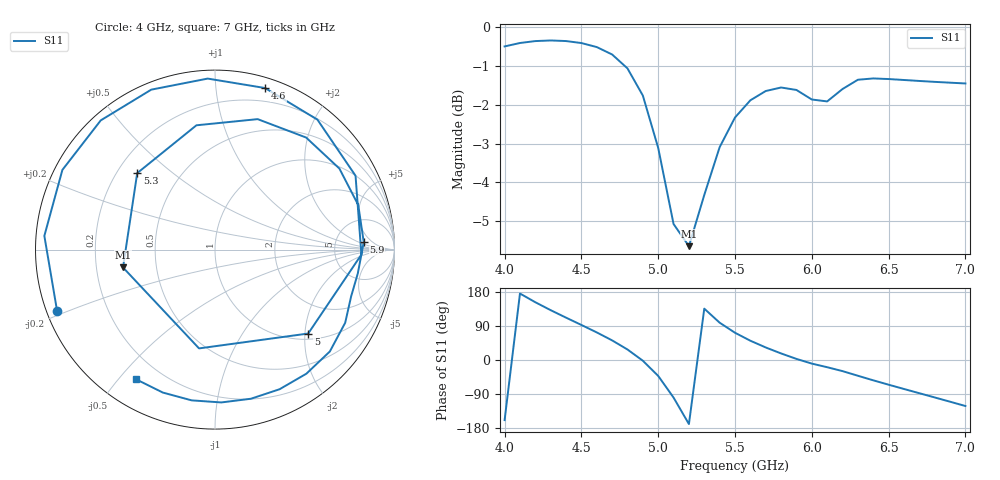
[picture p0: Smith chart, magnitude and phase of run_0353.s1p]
! Touchstone file exported from HFSS 2024.2.0
!  File:  C:/Users/wsak9/Desktop/Sim Fast/Widenad Patch/WP_AI_V1_sweep.aedt
!  Generated:  06:00:20 AM Oct 14, 2026
!  Design:  A1_model
!  Project:  WP_AI_V1_sweep
!  Setup:  Setup1
!  Solution:  Sweep
! Variables:
!  Air_gap = 3.16mm
!  Curve_Amp1 = 3.94
!  Curve_len1 = 1
!  Curve_pos = 10.01mm
!  Extra = 4.1mm
!  H_sub = 0.79mm
!  L_Patch = 16.02mm
!  L_Patch1 = 15.96mm
!  Sx = 4.54mm
!  Sy = 3.16mm
!  WS = 1.27mm
!  W_Patch = 13.67mm
!  W_Patch1 = 11.86mm
!Data is not renormalized
# GHz S MA
! Terminal data exported
! Port[1] = 1
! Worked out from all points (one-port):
!   31 points, 4 GHz to 7 GHz, reference per port
!   lowest |S11| = -5.6 dB at 5.2 GHz (marker M1), VSWR 3.19
!   |S11| at or under -10 dB: nowhere
!   S11 on the Smith chart (normalised r, x): 4 GHz: 0.03, -0.19; 4.6 GHz: 0.08, +1.35; 5 GHz: 1.14, -2.08; 5.3 GHz: 0.28, +0.38; 5.9 GHz: 10, +3; 7 GHz: 0.11, -0.56
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4  0.9442 -158.7
4.1  0.9538 175.4
4.2  0.9592 152.4
4.3  0.961 131.5
4.4  0.9593 111.7
4.5  0.9536 92.4
4.6  0.9424 72.8
4.7  0.9219 51.7
4.8  0.8846 27.7
4.9  0.8161 -2.0
5  0.6988 -42.0
5.1  0.5576 -99.2
5.2  0.5221 -169.0
5.3  0.6078 135.5
5.4  0.7003 98.5
5.5  0.7647 71.9
5.6  0.8047 50.9
5.7  0.8272 33.1
5.8  0.8359 17.3
5.9  0.8298 2.9
6  0.8066 -9.5
6.2  0.8321 -29.3
6.3  0.8553 -41.6
6.4  0.8586 -53.6
6.5  0.8571 -65.2
6.7  0.8522 -87.6
6.8  0.85 -98.8
7  0.846 -121.4
